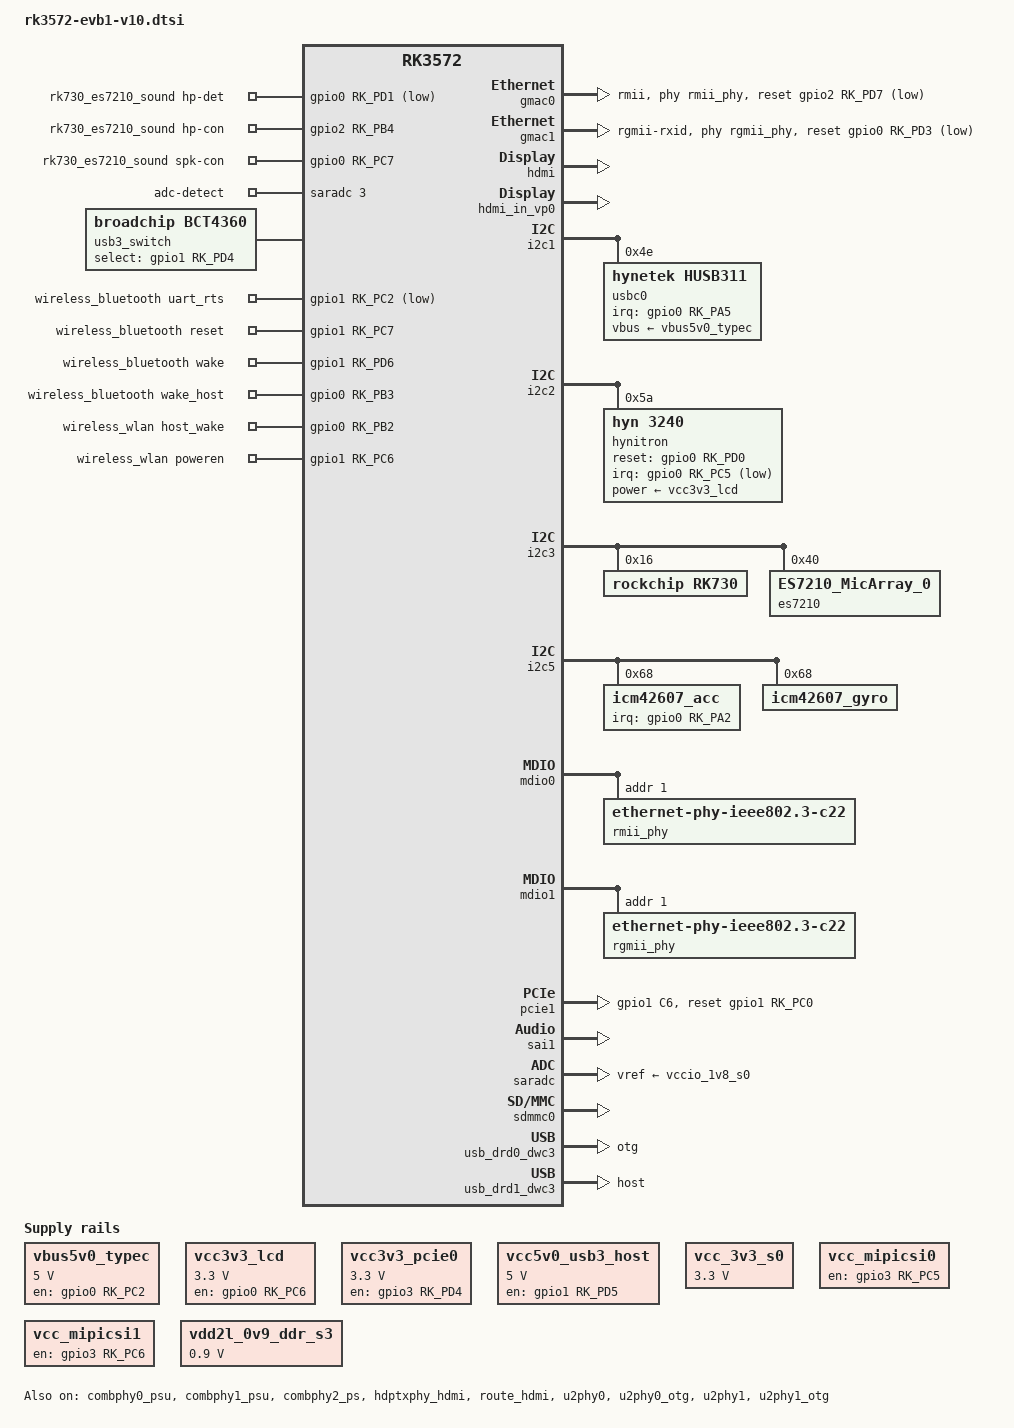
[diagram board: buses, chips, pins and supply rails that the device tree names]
// SPDX-License-Identifier: (GPL-2.0+ OR MIT)
/*
 * Copyright (c) 2025 Rockchip Electronics Co., Ltd.
 */

#include <dt-bindings/usb/pd.h>
#include "rk3572.dtsi"
#include "rk3572-evb.dtsi"
#include "rk3572-rk806.dtsi"
#include "rk3572-evb-input-keymap.dtsi"

/ {
	fan {
		compatible = "pwm-fan";
		pwms = <&pwm2_8ch_2 0 40000 0>;
		cooling-levels = <0 80 170 255>;
		status = "disabled";
	};

	rk730_es7210_sound: rk730-es7210-sound {
		compatible = "rockchip,multicodecs-card";
		rockchip,card-name = "rk730-es7210";
		hp-det-gpio = <&gpio0 RK_PD1 GPIO_ACTIVE_LOW>;
		io-channels = <&saradc 3>;
		io-channel-names = "adc-detect";
		keyup-threshold-microvolt = <1800000>;
		poll-interval = <100>;
		hp-con-gpio = <&gpio2 RK_PB4 GPIO_ACTIVE_HIGH>;
		spk-con-gpio = <&gpio0 RK_PC7 GPIO_ACTIVE_HIGH>;
		rockchip,pre-power-on-delay-ms = <30>;
		rockchip,post-power-down-delay-ms = <40>;
		rockchip,format = "i2s";
		rockchip,mclk-fs = <256>;
		rockchip,cpu = <&sai1>;
		rockchip,codec = <&rk730>, <&es7210>;
		rockchip,audio-routing =
				"Headphone", "LOUT1",
				"Headphone", "ROUT1",
				"Speaker", "LOUT2",
				"Speaker", "ROUT2",
				"Headphone", "Headphone Power",
				"Headphone", "Headphone Power",
				"Speaker", "Speaker Power",
				"Speaker", "Speaker Power",
				"MIC2", "Main Mic",
				"MIC1", "Headset Mic";
		pinctrl-names = "default";
		pinctrl-0 = <&hp_con_h &hp_det_l &spk_con_h>;
		play-pause-key {
			label = "playpause";
			linux,code = <KEY_PLAYPAUSE>;
			press-threshold-microvolt = <2000>;
		};
	};

	usb3_switch: usb3-switch {
		compatible = "broadchip,bct4360", "gpio-sbu-mux";
		select-gpios = <&gpio1 RK_PD4 GPIO_ACTIVE_HIGH>;
		pinctrl-names = "default";
		pinctrl-0 = <&usb3_switch_default>;
		orientation-switch;
	};

	vbus5v0_typec: vbus5v0-typec {
		compatible = "regulator-fixed";
		regulator-name = "vbus5v0_typec";
		regulator-min-microvolt = <5000000>;
		regulator-max-microvolt = <5000000>;
		enable-active-high;
		gpio = <&gpio0 RK_PC2 GPIO_ACTIVE_HIGH>;
		pinctrl-names = "default";
		pinctrl-0 = <&usb_drd0_pwren>;
	};

	vcc3v3_lcd: vcc3v3-lcd {
		compatible = "regulator-fixed";
		regulator-name = "vcc3v3_lcd";
		regulator-boot-on;
		enable-active-high;
		regulator-min-microvolt = <3300000>;
		regulator-max-microvolt = <3300000>;
		gpio = <&gpio0 RK_PC6 GPIO_ACTIVE_HIGH>;
	};

	vcc3v3_pcie0: vcc3v3-pcie0 {
		compatible = "regulator-fixed";
		regulator-name = "vcc3v3_pcie0";
		enable-active-high;
		regulator-min-microvolt = <3300000>;
		regulator-max-microvolt = <3300000>;
		gpio = <&gpio3 RK_PD4 GPIO_ACTIVE_HIGH>;
	};

	vcc5v0_usb3_host: vcc5v0-usb3-host {
		compatible = "regulator-fixed";
		regulator-name = "vcc5v0_usb3_host";
		regulator-boot-on;
		regulator-always-on;
		regulator-min-microvolt = <5000000>;
		regulator-max-microvolt = <5000000>;
		enable-active-high;
		gpio = <&gpio1 RK_PD5 GPIO_ACTIVE_HIGH>;
		pinctrl-names = "default";
		pinctrl-0 = <&usb_drd1_pwren>;
	};

	vcc_3v3_s0: vcc-3v3-s0 {
		compatible = "regulator-fixed";
		regulator-name = "vcc_3v3_s0";
		regulator-boot-on;
		regulator-always-on;
		regulator-min-microvolt = <3300000>;
		regulator-max-microvolt = <3300000>;
	};

	vcc_mipicsi0: vcc-mipicsi0-regulator {
		compatible = "regulator-fixed";
		gpio = <&gpio3 RK_PC5 GPIO_ACTIVE_HIGH>;
		pinctrl-names = "default";
		pinctrl-0 = <&mipicsi0_pwr>;
		regulator-name = "vcc_mipicsi0";
		enable-active-high;
	};

	vcc_mipicsi1: vcc-mipicsi1-regulator {
		compatible = "regulator-fixed";
		gpio = <&gpio3 RK_PC6 GPIO_ACTIVE_HIGH>;
		pinctrl-names = "default";
		pinctrl-0 = <&mipicsi1_pwr>;
		regulator-name = "vcc_mipicsi1";
		enable-active-high;
	};

	vdd2l_0v9_ddr_s3: vdd2l-0v9-ddr-s3 {
		compatible = "regulator-fixed";
		regulator-name = "vdd2l_0v9_ddr_s3";
		regulator-boot-on;
		regulator-always-on;
		regulator-min-microvolt = <900000>;
		regulator-max-microvolt = <900000>;
	};

	wireless_bluetooth: wireless-bluetooth {
		compatible = "bluetooth-platdata";
		bt_port = "/dev/ttyS4";
		uart_rts-gpios = <&gpio1 RK_PC2 GPIO_ACTIVE_LOW>;
		pinctrl-names = "default", "rts_gpio";
		pinctrl-0 = <&uart4m1_rtsn_pins>;
		pinctrl-1 = <&uart4_gpios>;
		BT,reset-gpios    = <&gpio1 RK_PC7 GPIO_ACTIVE_HIGH>;
		BT,wake-gpios     = <&gpio1 RK_PD6 GPIO_ACTIVE_HIGH>;
		BT,wake_host-gpios = <&gpio0 RK_PB3 GPIO_ACTIVE_HIGH>;
		status = "okay";
	};

	wireless_wlan: wireless-wlan {
		compatible = "wlan-platdata";
		wifi_chip_type = "ap6275p";
		pinctrl-names = "default";
		pinctrl-0 = <&wifi_host_wake_irq>;
		WIFI,host_wake-gpios = <&gpio0 RK_PB2 GPIO_ACTIVE_HIGH>;
		WIFI,poweren-gpios = <&gpio1 RK_PC6 GPIO_ACTIVE_HIGH>;
		status = "okay";
	};
};

&combphy0_psu {
	status = "okay";
};

&combphy1_psu {
	status = "okay";
};

&combphy2_ps {
	status = "okay";
};

&dsi_panel {
	power-supply = <&vcc3v3_lcd>;
};

&gmac0 {
	phy-mode = "rmii";
	clock_in_out = "output";

	snps,reset-gpio = <&gpio2 RK_PD7 GPIO_ACTIVE_LOW>;
	snps,reset-active-low;
	/* Reset time is 20ms, 100ms for rtl8211f */
	snps,reset-delays-us = <0 20000 100000>;

	pinctrl-names = "default";
	pinctrl-0 = <&eth0_miim_pins
		     &eth0_tx_bus2_pins
		     &eth0_rx_bus2_pins
		     &eth0_mclk_pins
		     &eth_clk0_25m_out_pins>;

	phy-handle = <&rmii_phy>;
	status = "okay";
};

&gmac1 {
	/* Use rgmii-rxid mode to disable rx delay inside Soc */
	phy-mode = "rgmii-rxid";
	clock_in_out = "output";

	snps,reset-gpio = <&gpio0 RK_PD3 GPIO_ACTIVE_LOW>;
	snps,reset-active-low;
	/* Reset time is 20ms, 100ms for rtl8211f */
	snps,reset-delays-us = <0 20000 100000>;

	pinctrl-names = "default";
	pinctrl-0 = <&eth1m0_miim_pins
		     &eth1m0_tx_bus2_pins
		     &eth1m0_rx_bus2_pins
		     &eth1m0_rgmii_clk_pins
		     &eth1m0_rgmii_bus_pins
		     &ethm0_clk1_25m_out_pins>;

	tx_delay = <0x20>;
	/* rx_delay = <0x3f>; */

	phy-handle = <&rgmii_phy>;
	status = "okay";
};

&hdmi {
	status = "okay";
	rockchip,sda-falling-delay-ns = <360>;
	pinctrl-names = "default";
	pinctrl-0 = <&hdmi_txm0_cec_pins &hdmi_txm0_ddc_pins &hdmi_txm1_hpdin_pins>;
};

&hdmi_in_vp0 {
	status = "okay";
};

&hdptxphy_hdmi {
	status = "okay";
};

&i2c1 {
	status = "okay";

	usbc0: husb311@4e {
		compatible = "hynetek,husb311";
		reg = <0x4e>;
		interrupt-parent = <&gpio0>;
		interrupts = <RK_PA5 IRQ_TYPE_LEVEL_LOW>;
		pinctrl-names = "default";
		pinctrl-0 = <&usbc0_int>;
		vbus-supply = <&vbus5v0_typec>;
		status = "okay";

		usb_con0: connector {
			compatible = "usb-c-connector";
			label = "USB-C";
			data-role = "dual";
			power-role = "dual";
			try-power-role = "sink";
			op-sink-microwatt = <1000000>;
			orientation-switch = <&usb3_switch &u2phy0>;
			usb-role-switch = <&usb_drd0_dwc3>;

			sink-pdos = <PDO_FIXED(5000, 1000, PDO_FIXED_DATA_SWAP | PDO_FIXED_USB_COMM | PDO_FIXED_EXTPOWER | PDO_FIXED_DUAL_ROLE)>;
			source-pdos = <PDO_FIXED(5000, 3000, PDO_FIXED_DATA_SWAP | PDO_FIXED_USB_COMM | PDO_FIXED_EXTPOWER | PDO_FIXED_DUAL_ROLE)>;
		};
	};
};

&i2c2 {
	status = "okay";

	hynitron: hynitron@5a {
		status = "okay";
		compatible = "hyn,3240";
		reg = <0x5a>;

		pinctrl-names = "ts_active","ts_suspend";
		pinctrl-0 = <&ts_int_active &ts_reset_active>;
		pinctrl-1 = <&ts_int_suspend &ts_reset_suspend>;

		reset-gpios = <&gpio0 RK_PD0 GPIO_ACTIVE_HIGH>;
		irq-gpios = <&gpio0 RK_PC5 GPIO_ACTIVE_LOW>;

		power-supply = <&vcc3v3_lcd>;
		max-touch-number = <5>;
		display-coords = <0 0 1080 1920>;
		pos-swap = <0>;
		posx-reverse = <0>;
		posy-reverse = <0>;
	};
};

&i2c3 {
	status = "okay";

	pinctrl-names = "default";
	pinctrl-0 = <&i2c3m0_xfer_pins>;

	rk730: rk730@16 {
		#sound-dai-cells = <0>;
		compatible = "rockchip,rk730";
		reg = <0x16>;
		clocks = <&mclkout_sai1>;
		clock-names = "mclk";
		assigned-clocks = <&mclkout_sai1>;
		assigned-clock-rates = <12288000>;
		pinctrl-names = "default";
		pinctrl-0 = <&sai1m0_mclk_pins>;
		rockchip,force-bias-on;
	};

	es7210: es7210@40 {
		#sound-dai-cells = <0>;
		compatible = "ES7210_MicArray_0";
		reg = <0x40>;
		clocks = <&mclkout_sai1>;
		clock-names = "mclk";
		assigned-clocks = <&mclkout_sai1>;
		assigned-clock-rates = <12288000>;
	};
};

&i2c5 {
	status = "okay";
	pinctrl-names = "default";
	pinctrl-0 = <&i2c5m3_xfer_pins>;

	icm42607_acc: icm_acc@68 {
		status = "okay";
		compatible = "icm42607_acc";
		reg = <0x68>;
		irq-gpio = <&gpio0 RK_PA2 IRQ_TYPE_EDGE_RISING>;
		irq_enable = <0>;
		poll_delay_ms = <30>;
		type = <SENSOR_TYPE_ACCEL>;
		layout = <1>;
	};

	icm42607_gyro: icm_gyro@68 {
		status = "okay";
		compatible = "icm42607_gyro";
		reg = <0x68>;
		poll_delay_ms = <30>;
		type = <SENSOR_TYPE_GYROSCOPE>;
		layout = <1>;
	};
};

&leds {
	status = "okay";
};

&mdio0 {
	rmii_phy: phy@1 {
		compatible = "ethernet-phy-ieee802.3-c22";
		reg = <0x1>;
		clocks = <&cru REFCLKO25M_GMAC0_OUT>;
	};
};

&mdio1 {
	rgmii_phy: phy@1 {
		compatible = "ethernet-phy-ieee802.3-c22";
		reg = <0x1>;
		clocks = <&cru REFCLKO25M_GMAC1_OUT>;
	};
};

&pcie0 {
	phys = <&combphy1_psu PHY_TYPE_PCIE>;
	reset-gpios = <&gpio4 RK_PB7 GPIO_ACTIVE_HIGH>;
	vpcie3v3-supply = <&vcc3v3_pcie0>;

	/*
	 * Disable usb_drd1_dwc3 if enabling pcie0 and set U1800 and
	 * U1801 to high state according to the schematic of page 18.
	 */
	status = "disabled";
};

&pcie1 {
	reset-gpios = <&gpio1 RK_PC0 GPIO_ACTIVE_HIGH>;
	rockchip,skip-scan-in-resume;
	pinctrl-names = "default";
	pinctrl-0 = <&wifi_poweren_gpio>;

	/*
	 * Solder R1851 and R1860 registers to make this slot
	 * work according to the schematic of page 17.
	 */
	status = "okay";
};

&pinctrl {
	audio-amplifier {
		spk_con_h: spk-con-h {
			rockchip,pins = <0 RK_PC7 RK_FUNC_GPIO &pcfg_pull_none>;
		};
	};

	cam {
		mipicsi0_pwr: mipicsi0-pwr {
			rockchip,pins =
				/* camera power en */
				<3 RK_PC5 RK_FUNC_GPIO &pcfg_pull_none>;
		};

		mipicsi1_pwr: mipicsi1-pwr {
			rockchip,pins =
				/* camera power en */
				<3 RK_PC6 RK_FUNC_GPIO &pcfg_pull_none>;
		};
	};

	headphone-jack {
		hp_con_h: hp-con-h {
			rockchip,pins = <2 RK_PB4 RK_FUNC_GPIO &pcfg_pull_none>;
		};

		hp_det_l: hp-det-l {
			rockchip,pins = <0 RK_PD1 RK_FUNC_GPIO &pcfg_pull_up>;
		};
	};

	touch {
		ts_int_active: ts_int_active {
			rockchip,pins = <0 RK_PC5 RK_FUNC_GPIO &pcfg_pull_up>;
		};

		ts_reset_active: ts_reset_active {
			rockchip,pins = <0 RK_PD0 RK_FUNC_GPIO &pcfg_pull_up>;
		};

		ts_int_suspend: ts_int_suspend {
			rockchip,pins = <0 RK_PC5 RK_FUNC_GPIO &pcfg_pull_down>;
		};

		ts_reset_suspend: ts_reset_suspend {
			rockchip,pins = <0 RK_PD0 RK_FUNC_GPIO &pcfg_pull_down>;
		};
	};

	usb {
		usb3_switch_default: usb3-switch-default {
			rockchip,pins = <1 RK_PD4 RK_FUNC_GPIO &pcfg_pull_none>;
		};

		usb_drd0_pwren: usb-drd0-pwren {
			rockchip,pins = <0 RK_PC2 RK_FUNC_GPIO &pcfg_pull_none>;
		};

		usb_drd1_pwren: usb-drd1-pwren {
			rockchip,pins = <1 RK_PD5 RK_FUNC_GPIO &pcfg_pull_none>;
		};

		usbc0_int: usbc0-int {
			rockchip,pins = <0 RK_PA5 RK_FUNC_GPIO &pcfg_pull_up>;
		};
	};

	wireless-bluetooth {
		uart4_gpios: uart4-gpios {
			rockchip,pins = <1 RK_PC2 RK_FUNC_GPIO &pcfg_pull_none>;
		};
	};

	wireless-wlan {
		wifi_host_wake_irq: wifi-host-wake-irq {
			rockchip,pins = <0 RK_PB2 RK_FUNC_GPIO &pcfg_pull_down>;
		};

		wifi_poweren_gpio: wifi-poweren-gpio {
			rockchip,pins = <1 RK_PC6 RK_FUNC_GPIO &pcfg_pull_up>;
		};
	};
};

&pwm2_8ch_2 {
	pinctrl-0 = <&pwm2m2_ch2_pins>;
	status = "disabled";
};

&route_hdmi {
	status = "okay";
	connect = <&vp0_out_hdmi>;
};

&sai1 {
	status = "okay";
	pinctrl-names = "default";
	pinctrl-0 = <&sai1m0_lrck_pins
		     &sai1m0_sclk_pins
		     &sai1m0_sdi0_pins
		     &sai1m0_sdi1_pins
		     &sai1m0_sdi2_pins
		     &sai1m0_sdo0_pins>;
};

&saradc {
	status = "okay";
	vref-supply = <&vccio_1v8_s0>;
};

&sdmmc0 {
	status = "okay";
};

&u2phy0 {
	orientation-switch;
	status = "okay";
};

&u2phy0_otg {
	rockchip,typec-vbus-det;
	status = "okay";
};

&u2phy1 {
	status = "okay";
};

&u2phy1_otg {
	phy-supply = <&vcc5v0_usb3_host>;
	status = "okay";
};

&usb_drd0_dwc3 {
	dr_mode = "otg";
	usb-role-switch;
	status = "okay";
};

&usb_drd1_dwc3 {
	dr_mode = "host";
	status = "okay";
};
